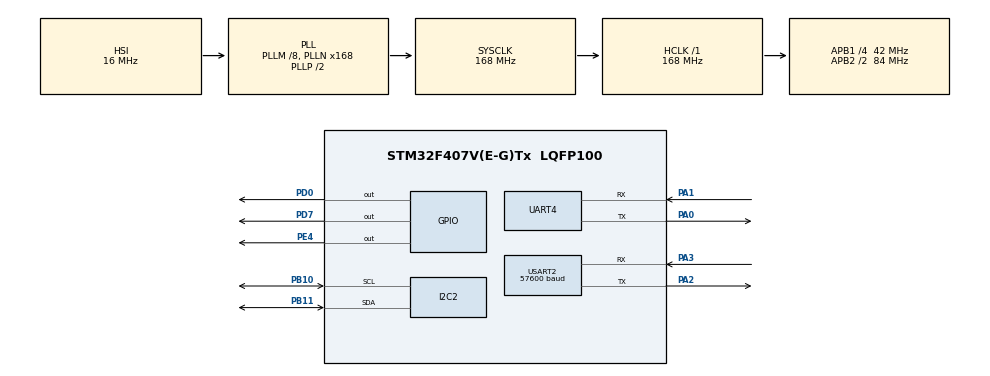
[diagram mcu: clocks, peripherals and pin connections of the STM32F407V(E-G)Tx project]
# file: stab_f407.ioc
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Mcu.Family=STM32F4
Mcu.Name=STM32F407V(E-G)Tx
Mcu.Package=LQFP100
NVIC.PriorityGroup=NVIC_PRIORITYGROUP_4
NVIC.UART4_IRQn=true\:0\:0\:false\:false\:true\:true
PA0-WKUP.Mode=Asynchronous
PA0-WKUP.Signal=UART4_TX
PA1.Mode=Asynchronous
PA1.Signal=UART4_RX
PA13.Mode=Serial_Wire
PA13.Signal=SYS_JTMS-SWDIO
PA14.Mode=Serial_Wire
PA14.Signal=SYS_JTCK-SWCLK
PA2.Mode=Asynchronous
PA2.Signal=USART2_TX
PA3.Mode=Asynchronous
PA3.Signal=USART2_RX
PB10.Mode=I2C
PB10.Signal=I2C2_SCL
PB11.Mode=I2C
PB11.Signal=I2C2_SDA
PD0.Signal=GPIO_Output
PD7.Signal=GPIO_Output
PE4.Signal=GPIO_Output
ProjectManager.HeapSize=0x200
ProjectManager.StackSize=0x400
ProjectManager.TargetToolchain=MDK-ARM V5
RCC.48MHZClocksFreq_Value=84000000
RCC.AHBFreq_Value=168000000
RCC.APB1CLKDivider=RCC_HCLK_DIV4
RCC.APB1Freq_Value=42000000
RCC.APB1TimFreq_Value=84000000
RCC.APB2CLKDivider=RCC_HCLK_DIV2
RCC.APB2Freq_Value=84000000
RCC.APB2TimFreq_Value=168000000
RCC.CortexFreq_Value=168000000
RCC.HCLKFreq_Value=168000000
RCC.HSE_VALUE=25000000
RCC.HSI_VALUE=16000000
RCC.LSE_VALUE=32768
RCC.PLLM=8
RCC.PLLN=168
RCC.SYSCLKFreq_VALUE=168000000
RCC.SYSCLKSource=RCC_SYSCLKSOURCE_PLLCLK
RCC.VCOOutputFreq_Value=336000000
TIM1.Period=500
TIM1.Prescaler=16800
UART4.VirtualMode=Asynchronous
USART2.BaudRate=57600
USART2.VirtualMode=VM_ASYNC
VP_TIM1_VS_ClockSourceINT.Mode=Internal
board=stab_f407

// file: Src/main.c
/**
  ******************************************************************************
  * File Name          : main.c
  * Description        : Main program body
  ******************************************************************************
  ** This notice applies to any and all portions of this file
  * that are not between comment pairs USER CODE BEGIN and
  * USER CODE END. Other portions of this file, whether
  * inserted by the user or by software development tools
  * are owned by their respective copyright owners.
  *
  * COPYRIGHT(c) 2017 STMicroelectronics
  *
  * Redistribution and use in source and binary forms, with or without modification,
  * are permitted provided that the following conditions are met:
  *   1. Redistributions of source code must retain the above copyright notice,
  *      this list of conditions and the following disclaimer.
  *   2. Redistributions in binary form must reproduce the above copyright notice,
  *      this list of conditions and the following disclaimer in the documentation
  *      and/or other materials provided with the distribution.
  *   3. Neither the name of STMicroelectronics nor the names of its contributors
  *      may be used to endorse or promote products derived from this software
  *      without specific prior written permission.
  *
  * THIS SOFTWARE IS PROVIDED BY THE COPYRIGHT HOLDERS AND CONTRIBUTORS "AS IS"
  * AND ANY EXPRESS OR IMPLIED WARRANTIES, INCLUDING, BUT NOT LIMITED TO, THE
  * IMPLIED WARRANTIES OF MERCHANTABILITY AND FITNESS FOR A PARTICULAR PURPOSE ARE
  * DISCLAIMED. IN NO EVENT SHALL THE COPYRIGHT HOLDER OR CONTRIBUTORS BE LIABLE
  * FOR ANY DIRECT, INDIRECT, INCIDENTAL, SPECIAL, EXEMPLARY, OR CONSEQUENTIAL
  * DAMAGES (INCLUDING, BUT NOT LIMITED TO, PROCUREMENT OF SUBSTITUTE GOODS OR
  * SERVICES; LOSS OF USE, DATA, OR PROFITS; OR BUSINESS INTERRUPTION) HOWEVER
  * CAUSED AND ON ANY THEORY OF LIABILITY, WHETHER IN CONTRACT, STRICT LIABILITY,
  * OR TORT (INCLUDING NEGLIGENCE OR OTHERWISE) ARISING IN ANY WAY OUT OF THE USE
  * OF THIS SOFTWARE, EVEN IF ADVISED OF THE POSSIBILITY OF SUCH DAMAGE.
  *
  ******************************************************************************
  */
#include "main.h"
#include "stm32f4xx_hal.h"
#include "i2c.h"
#include "tim.h"
#include "usart.h"
#include "gpio.h"

/* USER CODE BEGIN Includes */
#include "IMU.h"
#include "mpu6050.h"
#include "function.h"
#include "Define.h"
/* USER CODE END Includes */

/* USER CODE BEGIN PV */
/* Private variables ---------------------------------------------------------*/

/* USER CODE END PV */

void SystemClock_Config(void);

/* USER CODE BEGIN PFP */
/* Private function prototypes -----------------------------------------------*/

/* USER CODE END PFP */

int main(void)
{

  /* MCU Configuration----------------------------------------------------------*/

  /* Reset of all peripherals, Initializes the Flash interface and the Systick. */
  HAL_Init();

  /* Configure the system clock */
  SystemClock_Config();

  /* Initialize all configured peripherals */
  MX_GPIO_Init();
  MX_I2C2_Init();
  MX_UART4_Init();
  MX_USART2_UART_Init();
  MX_TIM1_Init();

  /* USER CODE BEGIN 2 */
	Mahony.q0 = 1.0f;
	Mahony_ODO.q0 = 1.0f;
	Mpu.gyrox_offset=0;
	Mpu.gyroy_offset=2;
	Mpu.gyroz_offset=-8;
	Mpu_ODO.gyrox_offset=0;
	Mpu_ODO.gyroy_offset=2;
	Mpu_ODO.gyroz_offset=-8;
	Mpu.Gravity=1800;
	Mpu_ODO.Gravity=1800;
	//init_mpu(&Mpu,&hi2c2,0xD0,1);//calib
	init_mpu(&Mpu,&hi2c2,0xD0,0);//dont calib
	init_mpu(&Mpu_ODO,&hi2c2,0xD2,0);//dont calib
	HAL_TIM_Base_Start(&htim1);
	hiphop();
	go_to_postion(2,120);
	//go_to_postion(2,150);
	int a = 1;
  /* USER CODE END 2 */

  /* Infinite loop */
  /* USER CODE BEGIN WHILE */
  while (1)
  {

				HAL_UART_Transmit(&huart2,(uint8_t*)a,1,1);
		HAL_Delay(5);

			TIM1->CNT=0;
			if(ping_mpu(&Mpu)){
				Update_IMU_Data_Mahony(&Mahony,&Mpu);
				//filter_lowpass();
				led_red_toggle;
				}
			go_to_postion(1,244-   Mahony.Roll);
			go_to_postion(2,148- Mahony.Pitch);

//			if(ping_mpu(&Mpu_ODO)){
//				Mpu_update(&Mpu_ODO);
//				led_yellow_toggle;
//			  write_data_2_upboard(&Mpu_ODO);
//			}
			while(TIM1->CNT <= Time){};

				//temppp=TIM1->CNT;

  /* USER CODE END WHILE */

  }

}

/** System Clock Configuration
*/
void SystemClock_Config(void)
{

  RCC_OscInitTypeDef RCC_OscInitStruct;
  RCC_ClkInitTypeDef RCC_ClkInitStruct;

    /**Configure the main internal regulator output voltage
    */
  __HAL_RCC_PWR_CLK_ENABLE();

  __HAL_PWR_VOLTAGESCALING_CONFIG(PWR_REGULATOR_VOLTAGE_SCALE1);

    /**Initializes the CPU, AHB and APB busses clocks
    */
  RCC_OscInitStruct.OscillatorType = RCC_OSCILLATORTYPE_HSI;
  RCC_OscInitStruct.HSIState = RCC_HSI_ON;
  RCC_OscInitStruct.HSICalibrationValue = 16;
  RCC_OscInitStruct.PLL.PLLState = RCC_PLL_ON;
  RCC_OscInitStruct.PLL.PLLSource = RCC_PLLSOURCE_HSI;
  RCC_OscInitStruct.PLL.PLLM = 8;
  RCC_OscInitStruct.PLL.PLLN = 168;
  RCC_OscInitStruct.PLL.PLLP = RCC_PLLP_DIV2;
  RCC_OscInitStruct.PLL.PLLQ = 4;
  if (HAL_RCC_OscConfig(&RCC_OscInitStruct) != HAL_OK)
  {
    _Error_Handler(__FILE__, __LINE__);
  }

    /**Initializes the CPU, AHB and APB busses clocks
    */
  RCC_ClkInitStruct.ClockType = RCC_CLOCKTYPE_HCLK|RCC_CLOCKTYPE_SYSCLK
                              |RCC_CLOCKTYPE_PCLK1|RCC_CLOCKTYPE_PCLK2;
  RCC_ClkInitStruct.SYSCLKSource = RCC_SYSCLKSOURCE_PLLCLK;
  RCC_ClkInitStruct.AHBCLKDivider = RCC_SYSCLK_DIV1;
  RCC_ClkInitStruct.APB1CLKDivider = RCC_HCLK_DIV4;
  RCC_ClkInitStruct.APB2CLKDivider = RCC_HCLK_DIV2;

  if (HAL_RCC_ClockConfig(&RCC_ClkInitStruct, FLASH_LATENCY_5) != HAL_OK)
  {
    _Error_Handler(__FILE__, __LINE__);
  }

    /**Configure the Systick interrupt time
    */
  HAL_SYSTICK_Config(HAL_RCC_GetHCLKFreq()/1000);

    /**Configure the Systick
    */
  HAL_SYSTICK_CLKSourceConfig(SYSTICK_CLKSOURCE_HCLK);

  /* SysTick_IRQn interrupt configuration */
  HAL_NVIC_SetPriority(SysTick_IRQn, 0, 0);
}

void _Error_Handler(char * file, int line)
{
  while(1)
  {
  }
}

/************************ (C) COPYRIGHT STMicroelectronics *****END OF FILE****/
